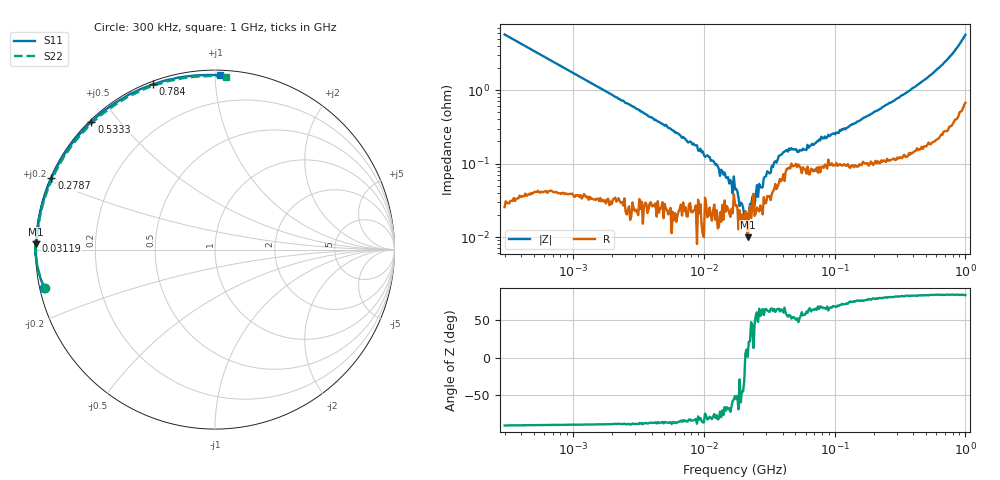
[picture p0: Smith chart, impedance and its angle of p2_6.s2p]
#  HZ  S  RI  R  50
! Rohde & Schwarz ZVA/B
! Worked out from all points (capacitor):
!   401 points, 300 kHz to 1 GHz, reference 50 ohm
!   read as one part in shunt: C = 92.8 nF near 312.4 kHz
!   lowest |Z| = 9.95 mohm at 21.65 MHz (marker M1)
!   series resonance near 20.72 MHz, so ESL is about 640 pH
!   S11 on the Smith chart (normalised r, x): 300 kHz: 0.01, -0.11; 31.19 MHz: 0.00, +0.02; 278.7 MHz: 0.00, +0.21; 533.3 MHz: 0.01, +0.42; 784 MHz: 0.01, +0.69; 1 GHz: 0.03, +1.03
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300000  -0.9506 -0.2147  0.0501 -0.2171  0.0507 -0.218  -0.9486 -0.2148
1167356  -0.996 -0.0568  0.00466 -0.0585  0.0048 -0.0585  -0.9949 -0.0565
4542403  -0.9991 -0.00784  0.000971 -0.0148  0.00108 -0.0148  -0.9976 -0.00753
1.15456e7  -0.9997 0.0111  0.000613 -0.00435  0.000688 -0.00392  -0.9988 0.0135
1.732051e7  -0.9988 0.0221  0.0011 -0.00141  0.00036 -0.0015  -0.9987 0.0248
1.956157e7  -1 0.0276  0.00079 -0.000823  0.00122 -0.00079  -0.9969 0.0274
2.037127e7  -0.9991 0.0298  0.000671 -0.000439  0.000769 -0.000142  -0.997 0.0305
2.078861e7  -0.9987 0.0288  0.000899 5.75e-05  0.00117 -0.000516  -0.9967 0.031
2.16491e7  -0.9976 0.0302  0.000397 -4.67e-06  0.000779 0.000405  -0.9975 0.0341
2.25452e7  -0.9972 0.0332  0.00106 0.000378  0.000985 0.000242  -0.9958 0.0348
2.300707e7  -0.9993 0.0338  0.000752 0.00076  0.000955 0.000539  -0.9985 0.0342
2.445023e7  -0.9993 0.0353  0.000802 0.000711  0.00131 0.00114  -0.9974 0.0366
2.76138e7  -0.9968 0.0405  0.00103 0.00158  0.00154 0.00195  -0.9954 0.0431
3.118669e7  -0.9969 0.0465  0.00156 0.0026  0.00193 0.00228  -0.9947 0.0479
4.142572e7  -0.9928 0.0636  0.00264 0.00512  0.00325 0.00481  -0.9923 0.0665
6.739735e7  -0.9897 0.0994  0.00397 0.00623  0.00411 0.00614  -0.9891 0.1057
1.42728e8  -0.9733 0.2073  0.0065 0.0123  0.00641 0.0127  -0.9674 0.215
2.622557e8  -0.9204 0.3773  0.0136 0.0217  0.0132 0.0217  -0.9099 0.3857
2.787062e8  -0.9115 0.3982  0.0147 0.0223  0.0149 0.0224  -0.8989 0.4098
5.333065e8  -0.6882 0.713  0.0418 0.0313  0.0413 0.0313  -0.6667 0.7224
7.839956e8  -0.3438 0.9213  0.0768 0.0194  0.0772 0.0193  -0.314 0.9218
1e9  0.0252 0.9715  0.104 -0.0141  0.1041 -0.0142  0.059 0.9633
